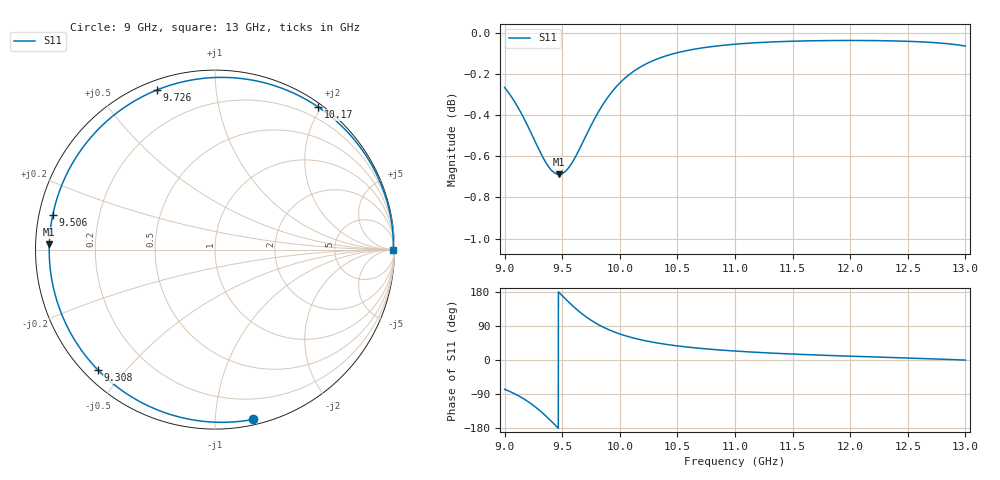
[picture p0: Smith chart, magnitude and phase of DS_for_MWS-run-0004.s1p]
! TOUCHSTONE file generated by CST DESIGN STUDIO
! Date and time: Wed Feb  5 13:30:06 2025
! Project name: C:\Work\MatlabApps\UnitCellOptimizationMatlab\CST\unitcell.cst
! Tree item: Tasks\Sweep1\SPara1\S-Parameters
! Header version: 2024
! Port assignment regex: !\s*Touchstone port\s*([0-9]+)\s*=\s*(CST MWS port|CST DES external port|CST DES block port)\s*(.+)\s* \(\"(.*)\"\)(\s*mode\s*([0-9]+))?.*
! Touchstone port assignment:
! Touchstone port 1 = CST DES external port 1 ("")
# GHz S MA R 50
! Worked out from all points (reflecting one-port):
!   4001 points, 9 GHz to 13 GHz, reference 50 ohm
!   lowest |S11| = -0.7 dB at 9.472 GHz (marker M1), VSWR 25.26, Z = 1.98 + j0.787 ohm
!   phase of S11 starts at -77 deg and turns -283 deg over the sweep
!   S11 on the Smith chart (normalised r, x): 9 GHz: 0.04, -1.25; 9.308 GHz: 0.04, -0.42; 9.506 GHz: 0.04, +0.11; 9.726 GHz: 0.04, +0.70; 10.17 GHz: 0.05, +1.96; 13 GHz: open
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9  0.9699 -77.3
9.077  0.9632 -87.6
9.175  0.9524 -104.2
9.244  0.9437 -118.6
9.308  0.9356 -134.1
9.351  0.9307 -145.8
9.397  0.9266 -159.0
9.435  0.9245 -170.5
9.472  0.9238 178.2
9.5  0.9242 169.6
9.506  0.9244 167.8
9.558  0.9274 152.3
9.618  0.9333 135.6
9.671  0.9396 122.2
9.726  0.9465 109.9
9.78  0.9529 99.3
9.841  0.9595 89.0
9.919  0.9665 78.0
10  0.9723 68.7
10.171  0.9808 54.2
10.321  0.9854 45.1
10.5  0.9889 37.2
10.722  0.9917 30.1
11  0.9937 23.6
11.5  0.9953 15.7
12  0.9957 10.0
12.5  0.9953 5.2
13  0.9926 -0.3
